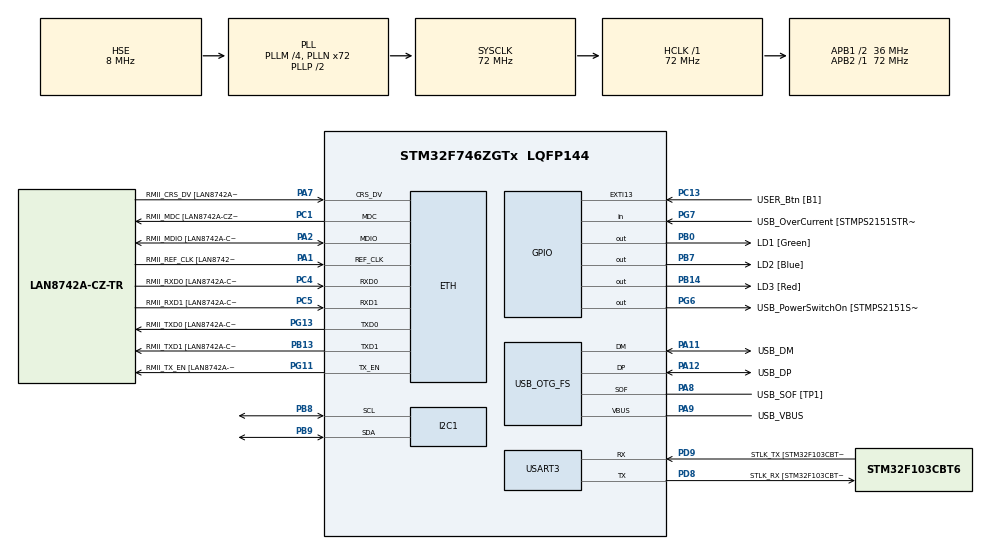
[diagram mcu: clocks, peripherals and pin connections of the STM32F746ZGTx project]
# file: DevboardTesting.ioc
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ETH.MediaInterface=HAL_ETH_RMII_MODE
ETH.PHY_Name=LAN8742A_PHY_ADDRESS
ETH.PHY_Value=0
ETH.PhyAddress=0
FREERTOS.Tasks01=defaultTask,24,512,StartDefaultTask,Default,NULL,Dynamic,NULL,NULL
FREERTOS.configCHECK_FOR_STACK_OVERFLOW=2
FREERTOS.configENABLE_FPU=1
FREERTOS.configMINIMAL_STACK_SIZE=512
FREERTOS.configUSE_NEWLIB_REENTRANT=1
I2C1.Timing=0x00808CD2
LWIP.BSP.number=1
LWIP.IP_ADDRESS=192.168.001.010
LWIP.LWIP_DHCP=0
LWIP.NETMASK_ADDRESS=255.255.255.000
LWIP.TCPIP_THREAD_STACKSIZE=1536
LWIP.Version=v2.1.2_Cube
LWIP0.BSP.STBoard=false
LWIP0.BSP.api=BSP_COMPONENT_DRIVER
LWIP0.BSP.component=LAN8742
LWIP0.BSP.instance=LAN8742
LWIP0.BSP.name=Driver_PHY
LWIP0.BSP.semaphore=S_LAN8742
LWIP0.BSP.solution=LAN8742
Mcu.Family=STM32F7
Mcu.Name=STM32F746ZGTx
Mcu.Package=LQFP144
NVIC.ETH_IRQn=true\:5\:0\:false\:false\:true\:true\:false\:true\:true
NVIC.PriorityGroup=NVIC_PRIORITYGROUP_4
NVIC.TIM6_DAC_IRQn=true\:15\:0\:false\:false\:true\:false\:false\:true\:true
NVIC.TimeBase=TIM6_DAC_IRQn
NVIC.TimeBaseIP=TIM6
PA1.GPIO_Label=RMII_REF_CLK [LAN8742A-CZ-TR_REFCLK0]
PA1.Mode=RMII
PA1.Signal=ETH_REF_CLK
PA10.GPIO_Label=USB_ID
PA10.Signal=USB_OTG_FS_ID
PA11.GPIO_Label=USB_DM
PA11.Mode=Device_Only
PA11.Signal=USB_OTG_FS_DM
PA12.GPIO_Label=USB_DP
PA12.Mode=Device_Only
PA12.Signal=USB_OTG_FS_DP
PA13.GPIO_Label=TMS
PA13.Mode=Serial_Wire
PA13.Signal=SYS_JTMS-SWDIO
PA14.GPIO_Label=TCK
PA14.Mode=Serial_Wire
PA14.Signal=SYS_JTCK-SWCLK
PA2.GPIO_Label=RMII_MDIO [LAN8742A-CZ-TR_MDIO]
PA2.Mode=RMII
PA2.Signal=ETH_MDIO
PA7.GPIO_Label=RMII_CRS_DV [LAN8742A-CZ-TR_CRS_DV]
PA7.Mode=RMII
PA7.Signal=ETH_CRS_DV
PA8.GPIO_Label=USB_SOF [TP1]
PA8.Mode=Activate_SOF_FS
PA8.Signal=USB_OTG_FS_SOF
PA9.GPIO_Label=USB_VBUS
PA9.Mode=Activate_VBUS
PA9.Signal=USB_OTG_FS_VBUS
PB0.GPIO_Label=LD1 [Green]
PB0.Signal=GPIO_Output
PB13.GPIO_Label=RMII_TXD1 [LAN8742A-CZ-TR_TXD1]
PB13.Mode=RMII
PB13.Signal=ETH_TXD1
PB14.GPIO_Label=LD3 [Red]
PB14.Signal=GPIO_Output
PB3.GPIO_Label=SW0
PB3.Signal=SYS_JTDO-SWO
PB7.GPIO_Label=LD2 [Blue]
PB7.Signal=GPIO_Output
PB8.Mode=I2C
PB8.Signal=I2C1_SCL
PB9.Mode=I2C
PB9.Signal=I2C1_SDA
PC1.GPIO_Label=RMII_MDC [LAN8742A-CZ-TR_MDC]
PC1.Mode=RMII
PC1.Signal=ETH_MDC
PC13.GPIO_Label=USER_Btn [B1]
PC13.Signal=GPXTI13
PC14/OSC32_IN.Mode=LSE-External-Oscillator
PC14/OSC32_IN.Signal=RCC_OSC32_IN
PC15/OSC32_OUT.Mode=LSE-External-Oscillator
PC15/OSC32_OUT.Signal=RCC_OSC32_OUT
PC4.GPIO_Label=RMII_RXD0 [LAN8742A-CZ-TR_RXD0]
PC4.Mode=RMII
PC4.Signal=ETH_RXD0
PC5.GPIO_Label=RMII_RXD1 [LAN8742A-CZ-TR_RXD1]
PC5.Mode=RMII
PC5.Signal=ETH_RXD1
PD8.GPIO_Label=STLK_RX [STM32F103CBT6_PA3]
PD8.GPIO_PuPd=GPIO_PULLUP
PD8.Mode=Asynchronous
PD8.Signal=USART3_TX
PD9.GPIO_Label=STLK_TX [STM32F103CBT6_PA2]
PD9.GPIO_PuPd=GPIO_PULLUP
PD9.Mode=Asynchronous
PD9.Signal=USART3_RX
PG11.GPIO_Label=RMII_TX_EN [LAN8742A-CZ-TR_TXEN]
PG11.Mode=RMII
PG11.Signal=ETH_TX_EN
PG13.GPIO_Label=RMII_TXD0 [LAN8742A-CZ-TR_TXD0]
PG13.Mode=RMII
PG13.Signal=ETH_TXD0
PG6.GPIO_Label=USB_PowerSwitchOn [STMPS2151STR_EN]
PG6.Signal=GPIO_Output
PG7.GPIO_Label=USB_OverCurrent [STMPS2151STR_FAULT]
PG7.Signal=GPIO_Input
PH0/OSC_IN.GPIO_Label=MCO [STM32F103CBT6_PA8]
PH0/OSC_IN.Mode=HSE-External-Clock-Source
PH0/OSC_IN.Signal=RCC_OSC_IN
PH1/OSC_OUT.Mode=HSE-External-Clock-Source
PH1/OSC_OUT.Signal=RCC_OSC_OUT
ProjectManager.HeapSize=0x200
ProjectManager.StackSize=0x400
ProjectManager.TargetToolchain=CMake
RCC.48MHZClocksFreq_Value=24000000
RCC.AHBFreq_Value=72000000
RCC.APB1CLKDivider=RCC_HCLK_DIV2
RCC.APB1Freq_Value=36000000
RCC.APB1TimFreq_Value=72000000
RCC.APB2Freq_Value=72000000
RCC.APB2TimFreq_Value=72000000
RCC.CortexFreq_Value=72000000
RCC.HCLKFreq_Value=72000000
RCC.HSE_VALUE=8000000
RCC.HSI_VALUE=16000000
RCC.PLLM=4
RCC.PLLMUL=RCC_PLL_MUL9
RCC.PLLN=72
RCC.PLLQ=3
RCC.PRESCALERUSB=RCC_USBCLKSOURCE_PLL_DIV1_5
RCC.SYSCLKFreq_VALUE=72000000
RCC.SYSCLKSource=RCC_SYSCLKSOURCE_PLLCLK
RCC.SYSCLKSourceVirtual=RCC_SYSCLKSOURCE_PLLCLK
RCC.USBFreq_Value=48000000
RCC.VCOOutputFreq_Value=144000000
USART3.VirtualMode-Asynchronous=VM_ASYNC
USB_OTG_FS.VirtualMode=Device_Only
VP_FREERTOS_VS_CMSIS_V2.Mode=CMSIS_V2
VP_LWIP_VS_Enabled.Mode=Enabled
VP_SYS_VS_tim6.Mode=TIM6
board=NUCLEO-F746ZG

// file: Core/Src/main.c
/* USER CODE BEGIN Header */
/**
 ******************************************************************************
 * @file           : main.c
 * @brief          : Main program body
 ******************************************************************************
 * @attention
 *
 * Copyright (c) 2025 STMicroelectronics.
 * All rights reserved.
 *
 * This software is licensed under terms that can be found in the LICENSE file
 * in the root directory of this software component.
 * If no LICENSE file comes with this software, it is provided AS-IS.
 *
 ******************************************************************************
 */

#include "lwip/api.h"

/* USER CODE END Header */
#include "main.h"
#include "cmsis_os.h"
#include "lwip.h"

I2C_HandleTypeDef hi2c1;

UART_HandleTypeDef huart3;

PCD_HandleTypeDef hpcd_USB_OTG_FS;

/* Definitions for defaultTask */
osThreadId_t defaultTaskHandle;
const osThreadAttr_t defaultTask_attributes = {
		.name = "defaultTask",
		.stack_size = 512 * 4,
		.priority = (osPriority_t) osPriorityNormal,
};

void SystemClock_Config(void);
static void MX_GPIO_Init(void);
static void MX_I2C1_Init(void);
static void MX_USART3_UART_Init(void);
static void MX_USB_OTG_FS_PCD_Init(void);
void StartDefaultTask(void *argument);

int main(void)
{

	/* USER CODE BEGIN 1 */

#ifndef NDEBUG
	/* As per https://community.st.com/t5/stm32-mcus-boards-and-hardware/how-to-skip-the-interruption-while-debugging-stm32f746-discovery/td-p/320355
	 * try to improve debugging on buggy ARM Core-M7 r0p1. */
	DBGMCU->APB1FZ = 0xFFFFFFFF;
	DBGMCU->APB2FZ = 0xFFFFFFFF;
#endif // NDEBUG

	/* USER CODE END 1 */

	/* MCU Configuration--------------------------------------------------------*/

	/* Reset of all peripherals, Initializes the Flash interface and the Systick. */
	HAL_Init();

	/* Configure the system clock */
	SystemClock_Config();

	/* Initialize all configured peripherals */
	MX_GPIO_Init();
	MX_I2C1_Init();
	MX_USART3_UART_Init();
	MX_USB_OTG_FS_PCD_Init();

	/* Init scheduler */
	osKernelInitialize();

	/* Create the thread(s) */
	/* creation of defaultTask */
	defaultTaskHandle = osThreadNew(StartDefaultTask, NULL, &defaultTask_attributes);

	/* Start scheduler */
	osKernelStart();

	/* We should never get here as control is now taken by the scheduler */

	/* Infinite loop */
	/* USER CODE BEGIN WHILE */
	while (1)
	{
		// Notify user via red LED about failure condition.
		HAL_GPIO_TogglePin(GPIOB, LD3_Pin);

		osDelay(250 /*ms*/);
		/* USER CODE END WHILE */

	}
}

void SystemClock_Config(void)
{
	RCC_OscInitTypeDef RCC_OscInitStruct = {0};
	RCC_ClkInitTypeDef RCC_ClkInitStruct = {0};

	/** Configure LSE Drive Capability
	 */
	HAL_PWR_EnableBkUpAccess();

	/** Configure the main internal regulator output voltage
	 */
	__HAL_RCC_PWR_CLK_ENABLE();
	__HAL_PWR_VOLTAGESCALING_CONFIG(PWR_REGULATOR_VOLTAGE_SCALE3);

	/** Initializes the RCC Oscillators according to the specified parameters
	 * in the RCC_OscInitTypeDef structure.
	 */
	RCC_OscInitStruct.OscillatorType = RCC_OSCILLATORTYPE_HSE;
	RCC_OscInitStruct.HSEState = RCC_HSE_BYPASS;
	RCC_OscInitStruct.PLL.PLLState = RCC_PLL_ON;
	RCC_OscInitStruct.PLL.PLLSource = RCC_PLLSOURCE_HSE;
	RCC_OscInitStruct.PLL.PLLM = 4;
	RCC_OscInitStruct.PLL.PLLN = 72;
	RCC_OscInitStruct.PLL.PLLP = RCC_PLLP_DIV2;
	RCC_OscInitStruct.PLL.PLLQ = 3;
	if (HAL_RCC_OscConfig(&RCC_OscInitStruct) != HAL_OK)
	{
		Error_Handler();
	}

	/** Initializes the CPU, AHB and APB buses clocks
	 */
	RCC_ClkInitStruct.ClockType = RCC_CLOCKTYPE_HCLK|RCC_CLOCKTYPE_SYSCLK
			|RCC_CLOCKTYPE_PCLK1|RCC_CLOCKTYPE_PCLK2;
	RCC_ClkInitStruct.SYSCLKSource = RCC_SYSCLKSOURCE_PLLCLK;
	RCC_ClkInitStruct.AHBCLKDivider = RCC_SYSCLK_DIV1;
	RCC_ClkInitStruct.APB1CLKDivider = RCC_HCLK_DIV2;
	RCC_ClkInitStruct.APB2CLKDivider = RCC_HCLK_DIV1;

	if (HAL_RCC_ClockConfig(&RCC_ClkInitStruct, FLASH_LATENCY_2) != HAL_OK)
	{
		Error_Handler();
	}
}

static void MX_I2C1_Init(void)
{

	hi2c1.Instance = I2C1;
	hi2c1.Init.Timing = 0x00808CD2;
	hi2c1.Init.OwnAddress1 = 0;
	hi2c1.Init.AddressingMode = I2C_ADDRESSINGMODE_7BIT;
	hi2c1.Init.DualAddressMode = I2C_DUALADDRESS_DISABLE;
	hi2c1.Init.OwnAddress2 = 0;
	hi2c1.Init.OwnAddress2Masks = I2C_OA2_NOMASK;
	hi2c1.Init.GeneralCallMode = I2C_GENERALCALL_DISABLE;
	hi2c1.Init.NoStretchMode = I2C_NOSTRETCH_DISABLE;
	if (HAL_I2C_Init(&hi2c1) != HAL_OK)
	{
		Error_Handler();
	}

	/** Configure Analogue filter
	 */
	if (HAL_I2CEx_ConfigAnalogFilter(&hi2c1, I2C_ANALOGFILTER_ENABLE) != HAL_OK)
	{
		Error_Handler();
	}

	/** Configure Digital filter
	 */
	if (HAL_I2CEx_ConfigDigitalFilter(&hi2c1, 0) != HAL_OK)
	{
		Error_Handler();
	}

}

static void MX_USART3_UART_Init(void)
{

	huart3.Instance = USART3;
	huart3.Init.BaudRate = 115200;
	huart3.Init.WordLength = UART_WORDLENGTH_8B;
	huart3.Init.StopBits = UART_STOPBITS_1;
	huart3.Init.Parity = UART_PARITY_NONE;
	huart3.Init.Mode = UART_MODE_TX_RX;
	huart3.Init.HwFlowCtl = UART_HWCONTROL_NONE;
	huart3.Init.OverSampling = UART_OVERSAMPLING_16;
	huart3.Init.OneBitSampling = UART_ONE_BIT_SAMPLE_DISABLE;
	huart3.AdvancedInit.AdvFeatureInit = UART_ADVFEATURE_NO_INIT;
	if (HAL_UART_Init(&huart3) != HAL_OK)
	{
		Error_Handler();
	}

}

static void MX_USB_OTG_FS_PCD_Init(void)
{

	hpcd_USB_OTG_FS.Instance = USB_OTG_FS;
	hpcd_USB_OTG_FS.Init.dev_endpoints = 6;
	hpcd_USB_OTG_FS.Init.speed = PCD_SPEED_FULL;
	hpcd_USB_OTG_FS.Init.dma_enable = DISABLE;
	hpcd_USB_OTG_FS.Init.phy_itface = PCD_PHY_EMBEDDED;
	hpcd_USB_OTG_FS.Init.Sof_enable = ENABLE;
	hpcd_USB_OTG_FS.Init.low_power_enable = DISABLE;
	hpcd_USB_OTG_FS.Init.lpm_enable = DISABLE;
	hpcd_USB_OTG_FS.Init.vbus_sensing_enable = ENABLE;
	hpcd_USB_OTG_FS.Init.use_dedicated_ep1 = DISABLE;
	if (HAL_PCD_Init(&hpcd_USB_OTG_FS) != HAL_OK)
	{
		Error_Handler();
	}

}

static void MX_GPIO_Init(void)
{
	GPIO_InitTypeDef GPIO_InitStruct = {0};

	/* GPIO Ports Clock Enable */
	__HAL_RCC_GPIOC_CLK_ENABLE();
	__HAL_RCC_GPIOH_CLK_ENABLE();
	__HAL_RCC_GPIOA_CLK_ENABLE();
	__HAL_RCC_GPIOB_CLK_ENABLE();
	__HAL_RCC_GPIOD_CLK_ENABLE();
	__HAL_RCC_GPIOG_CLK_ENABLE();

	/*Configure GPIO pin Output Level */
	HAL_GPIO_WritePin(GPIOB, LD1_Pin|LD3_Pin|LD2_Pin, GPIO_PIN_RESET);

	/*Configure GPIO pin Output Level */
	HAL_GPIO_WritePin(USB_PowerSwitchOn_GPIO_Port, USB_PowerSwitchOn_Pin, GPIO_PIN_RESET);

	/*Configure GPIO pin : USER_Btn_Pin */
	GPIO_InitStruct.Pin = USER_Btn_Pin;
	GPIO_InitStruct.Mode = GPIO_MODE_IT_RISING;
	GPIO_InitStruct.Pull = GPIO_NOPULL;
	HAL_GPIO_Init(USER_Btn_GPIO_Port, &GPIO_InitStruct);

	/*Configure GPIO pins : LD1_Pin LD3_Pin LD2_Pin */
	GPIO_InitStruct.Pin = LD1_Pin|LD3_Pin|LD2_Pin;
	GPIO_InitStruct.Mode = GPIO_MODE_OUTPUT_PP;
	GPIO_InitStruct.Pull = GPIO_NOPULL;
	GPIO_InitStruct.Speed = GPIO_SPEED_FREQ_LOW;
	HAL_GPIO_Init(GPIOB, &GPIO_InitStruct);

	/*Configure GPIO pin : USB_PowerSwitchOn_Pin */
	GPIO_InitStruct.Pin = USB_PowerSwitchOn_Pin;
	GPIO_InitStruct.Mode = GPIO_MODE_OUTPUT_PP;
	GPIO_InitStruct.Pull = GPIO_NOPULL;
	GPIO_InitStruct.Speed = GPIO_SPEED_FREQ_LOW;
	HAL_GPIO_Init(USB_PowerSwitchOn_GPIO_Port, &GPIO_InitStruct);

	/*Configure GPIO pin : USB_OverCurrent_Pin */
	GPIO_InitStruct.Pin = USB_OverCurrent_Pin;
	GPIO_InitStruct.Mode = GPIO_MODE_INPUT;
	GPIO_InitStruct.Pull = GPIO_NOPULL;
	HAL_GPIO_Init(USB_OverCurrent_GPIO_Port, &GPIO_InitStruct);

}

/* USER CODE BEGIN 4 */

/* Private typedef -----------------------------------------------------------*/
/* Private define ------------------------------------------------------------*/
#define XXPECHO_THREAD_PRIO  ( tskIDLE_PRIORITY + 4 )
#define XXP_SERVER_PORT 7

static void tcpecho_thread(void *arg)
{
	LWIP_UNUSED_ARG(arg);

	/* Create a new connection identifier. */
	struct netconn * const conn = netconn_new(NETCONN_TCP);
	if (conn != NULL)
	{
		/* Bind connection to port number. */
		err_t const err = netconn_bind(conn, /*IP*/ IP_ADDR_ANY, /*port*/ XXP_SERVER_PORT);
		if (err == ERR_OK)
		{
			/* Tell connection to go into listening mode. */
			netconn_listen(conn);
			while (1)
			{
				/* Grab new connection. */
				struct netconn * newconn = NULL;
				err_t const accept_err = netconn_accept(conn, &newconn);
				/* Process the new connection. */
				if (accept_err == ERR_OK)
				{
					static char const greeting[] = "Hello, World!\n";
					netconn_write(newconn, &greeting, 14, NETCONN_COPY);

					struct netbuf *buf;
					while (netconn_recv(newconn, &buf) == ERR_OK)
					{
						do
						{
							void * data = NULL;
							u16_t len = 0;
							/*err_t const data_success =*/ netbuf_data(buf, &data, &len);
							// data_success @todo

							if ((1 == len) && ('2' == ((uint8_t const *)data)[0]))
							{
								// Toggle LD2.
								HAL_GPIO_TogglePin(GPIOB, LD2_Pin);
							}
							else
							{
								// Mirror input.
								netconn_write(newconn, data, len, NETCONN_COPY);
							}
						}
						while (netbuf_next(buf) >= 0);
						netbuf_delete(buf);
					}
					/* Close connection and discard connection identifier. */
					netconn_close(newconn);
					netconn_delete(newconn);
				}
				else
				{
					// @todo
				}
			}
		}
		else
		{
			netconn_delete(conn);
		}
	}
}

void tcpecho_init(void)
{
	sys_thread_new("tcpecho_thread", tcpecho_thread, NULL,
			DEFAULT_THREAD_STACKSIZE, XXPECHO_THREAD_PRIO);
}

/*-----------------------------------------------------------------------------------*/
static void udpecho_thread(void *arg)
{
	LWIP_UNUSED_ARG(arg);

	struct netconn *conn = NULL;
	struct netbuf *buf = NULL;
	ip_addr_t *addr = NULL;
	unsigned short port = 0;

	err_t err = ~ERR_OK;
	err_t recv_err = ~ERR_OK;

	conn = netconn_new(NETCONN_UDP);
	if (conn != NULL)
	{
		err = netconn_bind(conn, IP_ADDR_ANY, XXP_SERVER_PORT);
		if (err == ERR_OK)
		{
			while (1)
			{
				recv_err = netconn_recv(conn, &buf);

				if (recv_err == ERR_OK)
				{
					addr = netbuf_fromaddr(buf);
					port = netbuf_fromport(buf);
					netconn_connect(conn, addr, port);
					buf->addr.addr = 0;

					netconn_send(conn,buf);
					netbuf_delete(buf);
				}
			}
		}
		else
		{
			netconn_delete(conn);
		}
	}
}
/*-----------------------------------------------------------------------------------*/
void udpecho_init(void)
{
	sys_thread_new("udpecho_thread", udpecho_thread, NULL, DEFAULT_THREAD_STACKSIZE, XXPECHO_THREAD_PRIO);
}

/* USER CODE END 4 */

void StartDefaultTask(void *argument)
{
	/* init code for LWIP */
	MX_LWIP_Init();
	/* USER CODE BEGIN 5 */

	tcpecho_init();
	// udpecho_init();

	/* Infinite loop */
	for(;;)
	{
#ifndef NDEBUG
		static UBaseType_t highWatermarkMin = 0xffffffff; // high water mark in words [4 bytes per word for STM32 F746]
		static osThreadId_t runningThreads[16] = {0, };
		uint32_t const numberOfThreads = osThreadEnumerate(runningThreads, 16);
		for (uint32_t threadIndex = 0; numberOfThreads > threadIndex; ++threadIndex)
		{
			UBaseType_t const highWatermark = uxTaskGetStackHighWaterMark(runningThreads[threadIndex]);
			char const * const name = osThreadGetName(runningThreads[threadIndex]);
			// @todo: log?
			highWatermarkMin = (highWatermark < highWatermarkMin) ? highWatermark : highWatermarkMin;
		}
#endif // NDEBUG

		// static UBaseType_t value = 0xffffffff; // high water mark in words [4 bytes per word for STM32 F746]
		// UBaseType_t newValue = uxTaskGetStackHighWaterMark(NULL);
		// value = (newValue < value) ? newValue : value;

		HAL_GPIO_TogglePin(GPIOB, LD1_Pin);

		osDelay(500 /*ms*/);
	}
	/* USER CODE END 5 */
}

void HAL_TIM_PeriodElapsedCallback(TIM_HandleTypeDef *htim)
{
	if (htim->Instance == TIM6)
	{
		HAL_IncTick();
	}
}

void Error_Handler(void)
{
	__disable_irq();
	while (1)
	{
	}
}

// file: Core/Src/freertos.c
/* USER CODE BEGIN Header */
/**
  ******************************************************************************
  * File Name          : freertos.c
  * Description        : Code for freertos applications
  ******************************************************************************
  * @attention
  *
  * Copyright (c) 2025 STMicroelectronics.
  * All rights reserved.
  *
  * This software is licensed under terms that can be found in the LICENSE file
  * in the root directory of this software component.
  * If no LICENSE file comes with this software, it is provided AS-IS.
  *
  ******************************************************************************
  */
/* USER CODE END Header */

#include "FreeRTOS.h"
#include "task.h"
#include "main.h"

/* Hook prototypes */
void vApplicationStackOverflowHook(xTaskHandle xTask, signed char *pcTaskName);

/* USER CODE BEGIN 4 */
void vApplicationStackOverflowHook(xTaskHandle xTask, signed char *pcTaskName)
{
   /* Run time stack overflow checking is performed if
   configCHECK_FOR_STACK_OVERFLOW is defined to 1 or 2. This hook function is
   called if a stack overflow is detected. */

    static unsigned counter = 0;
    ++counter;

}
/* USER CODE END 4 */
